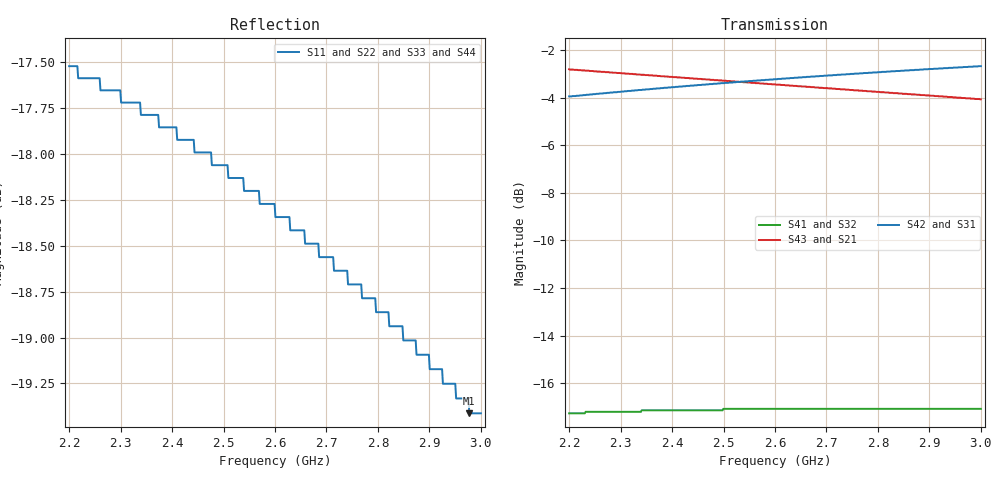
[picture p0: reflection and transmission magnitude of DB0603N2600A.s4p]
!	AVX THIN FILM OPERATION
!	0805 SIZE 3dB 90deg COUPLER P/N DB0603N2600ANTR
!	Created September 2010
!	Network	Analyzer	HP8720E	S.07.64:	"Feb23,2000"	Serial	No.US39172382
# MHZ S MA  R 50
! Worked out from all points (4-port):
!   500 points, 2.2 GHz to 3 GHz, reference 50 ohm
!   strongest paths, dB at 2.2 GHz, 2.4 GHz, 2.601 GHz, 2.801 GHz, 3 GHz:
!     S42: -3.9, -3.6, -3.2, -2.9, -2.7
!     S31: -3.9, -3.6, -3.2, -2.9, -2.7
!     S43: -2.8, -3.1, -3.4, -3.8, -4.1
!     S21: -2.8, -3.1, -3.4, -3.8, -4.1
!     S41: -17.3, -17.1, -17.1, -17.1, -17.1
!     S32: -17.3, -17.1, -17.1, -17.1, -17.1
!   lowest |S11| = -19.4 dB at 2.978 GHz (marker M1), VSWR 1.24, Z = 40.6 - j2.24 ohm
!   |S11| at or under -10 dB: start of sweep to end of sweep
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2200  0.133 -158.2  0.724 -45.9  0.635 42.0  0.137 -17.1
      0.724 -45.9  0.133 -158.2  0.137 -17.1  0.635 42.0
      0.635 42.0  0.137 -17.1  0.133 -158.2  0.724 -45.9
      0.137 -17.1  0.635 42.0  0.724 -45.9  0.133 -158.2
2336.273  0.13 -160.2  0.706 -47.9  0.655 40.2  0.138 -21.8
          0.706 -47.9  0.13 -160.2  0.138 -21.8  0.655 40.2
          0.655 40.2  0.138 -21.8  0.13 -160.2  0.706 -47.9
          0.138 -21.8  0.655 40.2  0.706 -47.9  0.13 -160.2
2344.289  0.129 -160.4  0.705 -48.0  0.656 40.1  0.139 -22.1
          0.705 -48.0  0.129 -160.4  0.139 -22.1  0.656 40.1
          0.656 40.1  0.139 -22.1  0.129 -160.4  0.705 -48.0
          0.139 -22.1  0.656 40.1  0.705 -48.0  0.129 -160.4
2595.992  0.122 -163.3  0.673 -51.4  0.689 36.9  0.14 -30.3
          0.673 -51.4  0.122 -163.3  0.14 -30.3  0.689 36.9
          0.689 36.9  0.14 -30.3  0.122 -163.3  0.673 -51.4
          0.14 -30.3  0.689 36.9  0.673 -51.4  0.122 -163.3
2844.489  0.113 -164.9  0.644 -54.6  0.719 34.0  0.14 -37.8
          0.644 -54.6  0.113 -164.9  0.14 -37.8  0.719 34.0
          0.719 34.0  0.14 -37.8  0.113 -164.9  0.644 -54.6
          0.14 -37.8  0.719 34.0  0.644 -54.6  0.113 -164.9
2977.555  0.107 -165.2  0.629 -56.2  0.733 32.6  0.14 -41.7
          0.629 -56.2  0.107 -165.2  0.14 -41.7  0.733 32.6
          0.733 32.6  0.14 -41.7  0.107 -165.2  0.629 -56.2
          0.14 -41.7  0.733 32.6  0.629 -56.2  0.107 -165.2
3000  0.107 -165.3  0.626 -56.5  0.735 32.3  0.14 -42.3
      0.626 -56.5  0.107 -165.3  0.14 -42.3  0.735 32.3
      0.735 32.3  0.14 -42.3  0.107 -165.3  0.626 -56.5
      0.14 -42.3  0.735 32.3  0.626 -56.5  0.107 -165.3
